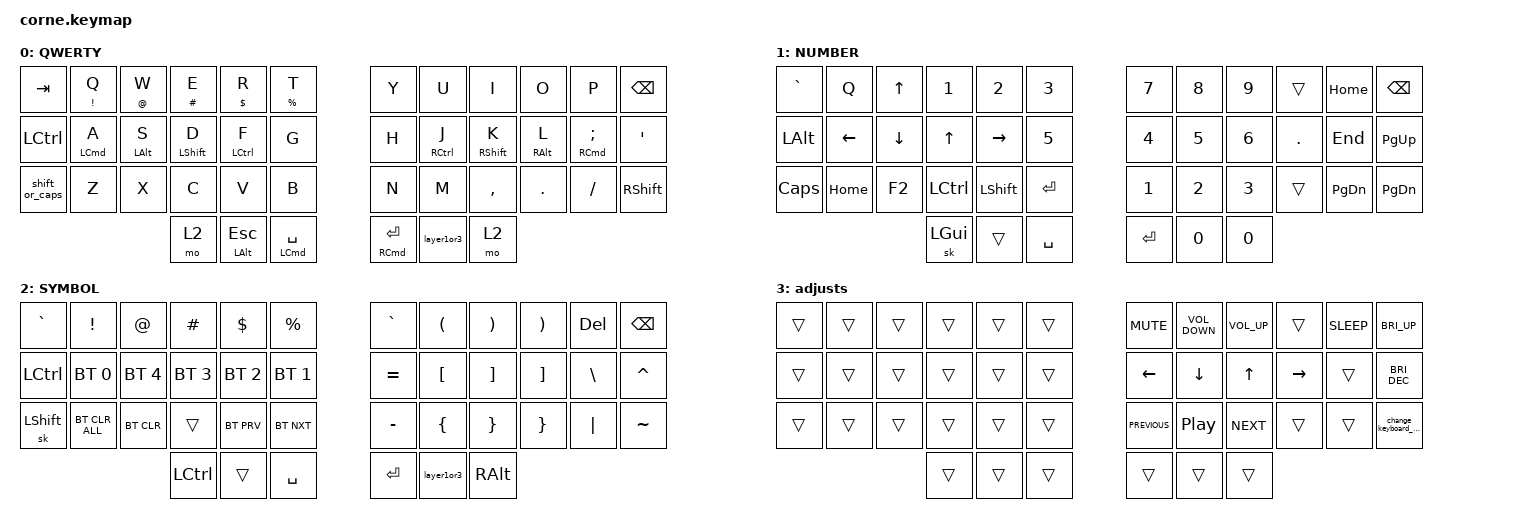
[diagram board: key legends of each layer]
#include <dt-bindings/zmk/mouse.h>
#include <behaviors.dtsi>
#include <dt-bindings/zmk/bt.h>
#include <dt-bindings/zmk/keys.h>

/ {
    behaviors {
        layer1or3: layer1or3 {
            compatible = "zmk,behavior-tap-dance";
            label = "LAYER1OR3";
            #binding-cells = <0>;
            bindings = <&mo 1>, <&mo 3>;
        };

        tap_or_hold: tap_or_hold {
            compatible = "zmk,behavior-hold-tap";
            label = "TAP_OR_HOLD";
            bindings = <&kp>, <&kp>;

            #binding-cells = <2>;
            tapping-term-ms = <200>;
            flavor = "tap-preferred";
            require-prior-idle-ms = <100>;
            quick-tap-ms = <150>;
        };

        shift_or_caps: shift_or_caps {
            compatible = "zmk,behavior-tap-dance";
            label = "SHIFT_OR_CAPS";
            #binding-cells = <0>;
            bindings = <&kp LEFT_SHIFT>, <&kp CAPSLOCK>;
        };
    };

    combos {
        compatible = "zmk,combos";

        print_4 {
            bindings = <&kp LS(LG(N4))>;
            key-positions = <10 11>;
        };

        print_5 {
            bindings = <&kp LS(LG(N5))>;
            key-positions = <23 22>;
        };

        semicolon {
            bindings = <&kp SEMICOLON>;
            key-positions = <32 33>;
        };

        esc {
            bindings = <&kp ESC>;
            key-positions = <0 12>;
        };

        spotlight {
            bindings = <&spotlight>;
            key-positions = <40 41>;
        };
    };

    macros {
        change_keyboard_lang: change_keyboard_lang {
            compatible = "zmk,behavior-macro";
            #binding-cells = <0>;
            bindings =
                <&macro_press>,
                <&kp RALT &kp RSHFT &kp RCTRL>,
                <&macro_tap>,
                <&kp SPACE>,
                <&macro_release>,
                <&kp RALT &kp RSHFT &kp RCTRL>;

            label = "CHANGE_KEYBOARD_LANG";
        };

        spotlight: spotlight {
            compatible = "zmk,behavior-macro";
            #binding-cells = <0>;
            bindings =
                <&macro_press>,
                <&kp LGUI>,
                <&macro_tap>,
                <&kp SPACE>,
                <&macro_release>,
                <&kp LGUI>;

            label = "SPOTLIGHT";
        };
    };

    keymap {
        compatible = "zmk,keymap";

        default_layer {
            label = "QWERTY";

            // -----------------------------------------------------------------------------------------
            // |  TAB |  Q  |  W  |  E  |  R  |  T  |   |  Y  |  U   |  I  |  O  |  P  | BKSP |
            // | CTRL |  A  |  S  |  D  |  F  |  G  |   |  H  |  J   |  K  |  L  |  ;  |  '   |
            // | SHFT |  Z  |  X  |  C  |  V  |  B  |   |  N  |  M   |  ,  |  .  |  /  | ESC  |
            //                    | GUI | LWR | SPC |   | ENT | RSE  | ALT |

            bindings = <
&kp TAB           &tap_or_hold EXCL Q          &tap_or_hold AT_SIGN W   &tap_or_hold HASH E        &tap_or_hold DOLLAR R        &tap_or_hold PERCENT T             &kp Y                           &kp U                         &kp I                       &kp O                     &kp P                            &kp BSPC
&kp LEFT_CONTROL  &tap_or_hold LEFT_COMMAND A  &tap_or_hold LEFT_ALT S  &tap_or_hold LEFT_SHIFT D  &tap_or_hold LEFT_CONTROL F  &kp G                              &kp H                           &tap_or_hold RIGHT_CONTROL J  &tap_or_hold RIGHT_SHIFT K  &tap_or_hold RIGHT_ALT L  &tap_or_hold RIGHT_COMMAND SEMI  &kp SQT
&shift_or_caps    &kp Z                        &kp X                    &kp C                      &kp V                        &kp B                              &kp N                           &kp M                         &kp COMMA                   &kp DOT                   &kp FSLH                         &kp RIGHT_SHIFT
                                                                        &mo 2                      &tap_or_hold LEFT_ALT ESC    &tap_or_hold LEFT_COMMAND SPACE    &tap_or_hold RIGHT_COMMAND RET  &layer1or3                    &mo 2
            >;
        };

        lower_layer {
            label = "NUMBER";

            // -----------------------------------------------------------------------------------------
            // |  TAB |  1  |  2  |  3  |  4  |  5  |   |  6  |  7  |  8  |  9  |  0  | BKSP |
            // | BTCLR| BT1 | BT2 | BT3 | BT4 | BT5 |   | LFT | DWN |  UP | RGT |     |      |
            // | SHFT |     |     |     |     |     |   |     |     |     |     |     |      |
            //                    | GUI |     | SPC |   | ENT |     | ALT |

            bindings = <
&kp GRAVE     &kp Q     &kp UP_ARROW  &kp NUMBER_1  &kp NUMBER_2    &kp NUMBER_3    &kp NUMBER_7  &kp NUMBER_8  &kp NUMBER_9  &trans      &kp HOME   &kp BACKSPACE
&kp LEFT_ALT  &kp LEFT  &kp DOWN      &kp UP        &kp RIGHT       &kp NUMBER_5    &kp NUMBER_4  &kp NUMBER_5  &kp NUMBER_6  &kp PERIOD  &kp END    &kp PG_UP
&kp CAPS      &kp HOME  &kp F2        &kp LCTRL     &kp LEFT_SHIFT  &kp ENTER       &kp NUMBER_1  &kp NUMBER_2  &kp NUMBER_3  &trans      &kp PG_DN  &kp PAGE_DOWN
                                      &sk LGUI      &trans          &kp SPACE       &kp RET       &kp N0        &kp N0
            >;
        };

        raise_layer {
            label = "SYMBOL";

            // -----------------------------------------------------------------------------------------
            // |  TAB |  !  |  @  |  #  |  $  |  %  |   |  ^  |  &  |  *  |  (  |  )  | BKSP |
            // | CTRL |     |     |     |     |     |   |  -  |  =  |  [  |  ]  |  \  |  `   |
            // | SHFT |     |     |     |     |     |   |  _  |  +  |  {  |  }  | "|" |  ~   |
            //                    | GUI |     | SPC |   | ENT |     | ALT |

            bindings = <
&kp GRAVE  &kp EXCL        &kp AT        &kp HASH          &kp DLLR      &kp PRCNT       &kp GRAVE  &kp LPAR    &kp RPAR  &kp RIGHT_PARENTHESIS  &kp DELETE  &kp BACKSPACE
&kp LCTRL  &bt BT_SEL 0    &bt BT_SEL 4  &bt BT_SEL 3      &bt BT_SEL 2  &bt BT_SEL 1    &kp EQUAL  &kp LBKT    &kp RBKT  &kp RBKT               &kp BSLH    &kp CARET
&sk LSHFT  &bt BT_CLR_ALL  &bt BT_CLR    &trans            &bt BT_PRV    &bt BT_NXT      &kp MINUS  &kp LBRC    &kp RBRC  &kp RBRC               &kp PIPE    &kp TILDE
                                         &kp LEFT_CONTROL  &trans        &kp SPACE       &kp RET    &layer1or3  &kp RALT
            >;
        };

        adjusts {
            bindings = <
&trans  &trans  &trans  &trans  &trans  &trans    &kp K_MUTE      &kp C_VOLUME_DOWN  &kp C_VOLUME_UP  &trans           &kp C_SLEEP  &kp C_BRI_UP
&trans  &trans  &trans  &trans  &trans  &trans    &kp LEFT        &kp DOWN_ARROW     &kp UP_ARROW     &kp RIGHT_ARROW  &trans       &kp C_BRI_DEC
&trans  &trans  &trans  &trans  &trans  &trans    &kp C_PREVIOUS  &kp C_PP           &kp C_NEXT       &trans           &trans       &change_keyboard_lang
                        &trans  &trans  &trans    &trans          &trans             &trans
            >;
        };
    };

    conditional_layers { compatible = "zmk,conditional-layers"; };
};
